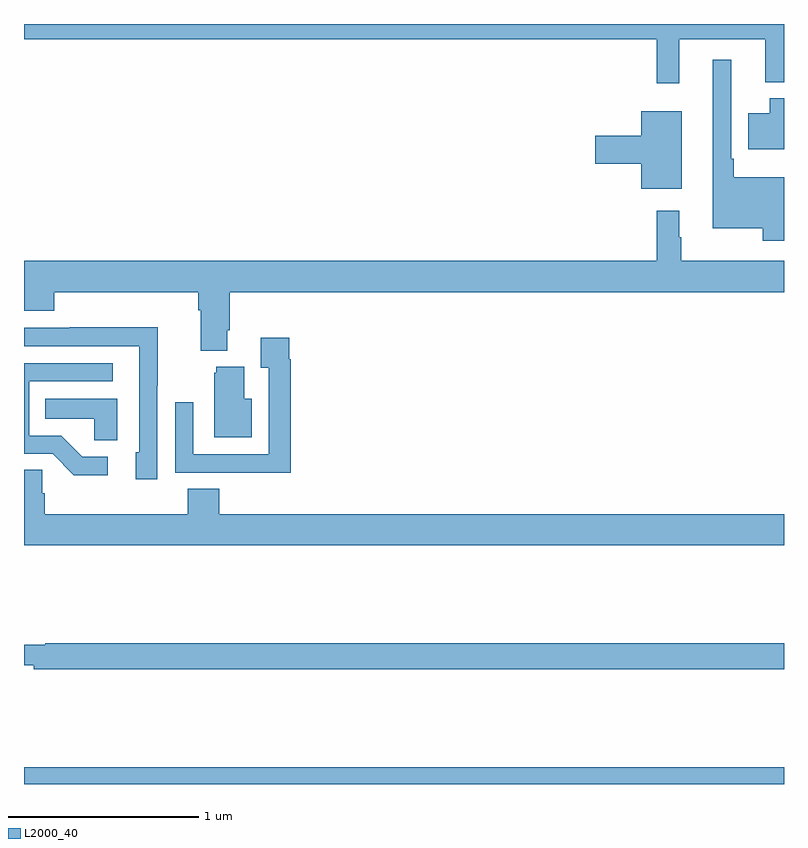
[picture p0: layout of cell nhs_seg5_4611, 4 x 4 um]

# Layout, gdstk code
import gdstk
lib = gdstk.Library(unit=1e-6, precision=1e-09)
def R(c, l, rs):  # rectangles x0, y0, x1, y1
    for r in rs: c.add(gdstk.rectangle(r[:2], r[2:], *l))
def P(c, l, *ps):  # polygons
    for p in ps: c.add(gdstk.Polygon(p, *l))
L2000_40 = (2000, 40)

nhs_seg5_4611 = lib.new_cell('nhs_seg5_4611')
R(nhs_seg5_4611, L2000_40, [(381,892.799,385,892.888)])
P(nhs_seg5_4611, L2000_40, [(384.449,896.72),(384.902,896.72),(384.902,896.492),(385,896.492),(385,896.799),(381,896.799),(381,896.72),(384.331,896.72),(384.331,896.487),(384.449,896.487)],
  [(385,895.993),(384.736,895.993),(384.736,896.089),(384.723,896.089),(384.723,896.611),(384.626,896.611),(384.626,895.724),(384.888,895.724),(384.888,895.659),(385,895.659)],
  [(385,896.407),(384.926,896.407),(384.926,896.329),(384.812,896.329),(384.812,896.141),(385,896.141)],
  [(384.463,896.341),(384.248,896.341),(384.248,896.21),(384.006,896.21),(384.006,896.063),(384.248,896.063),(384.248,895.931),(384.463,895.931)],
  [(382.069,895.186),(382.082,895.186),(382.082,895.388),(385,895.388),(385,895.552),(384.46,895.552),(384.46,895.676),(384.448,895.676),(384.448,895.816),(384.331,895.816),(384.331,895.552),(381,895.552),(381,895.289),(381.158,895.289),(381.158,895.388),(381.917,895.388),(381.917,895.292),(381.929,895.292),(381.929,895.079),(382.069,895.079)],
  [(381.702,894.895),(381.705,894.895),(381.705,895.202),(381.241,895.202),(381.241,895.2),(381,895.2),(381,895.104),(381.606,895.104),(381.606,894.546),(381.587,894.546),(381.587,894.402),(381.702,894.402)],
  [(382.403,895.034),(382.396,895.034),(382.396,895.147),(382.247,895.147),(382.247,894.991),(382.287,894.991),(382.287,894.534),(381.891,894.534),(381.891,894.808),(381.795,894.808),(381.795,894.438),(382.111,894.438),(382.111,894.437),(382.403,894.437)],
  [(381.442,894.522),(381.307,894.522),(381.196,894.633),(381.027,894.633),(381.027,894.918),(381.466,894.918),(381.466,895.014),(381,895.014),(381,894.537),(381.15,894.537),(381.263,894.425),(381.442,894.425)],
  [(382.198,894.826),(382.159,894.826),(382.159,894.994),(382.013,894.994),(382.013,894.963),(382.001,894.963),(382.001,894.623),(382.198,894.623)],
  [(381.49,894.826),(381.112,894.826),(381.112,894.722),(381.369,894.722),(381.369,894.607),(381.49,894.607)],
  [(385,894.22),(382.028,894.22),(382.028,894.353),(381.863,894.353),(381.863,894.22),(381.11,894.22),(381.11,894.329),(381.096,894.329),(381.096,894.452),(381,894.452),(381,894.056),(385,894.056)],
  [(385,893.54),(381.113,893.54),(381.113,893.533),(381,893.533),(381,893.423),(381.052,893.423),(381.052,893.404),(385,893.404)])

lib.write_gds('nhs_seg5_4611.gds')
